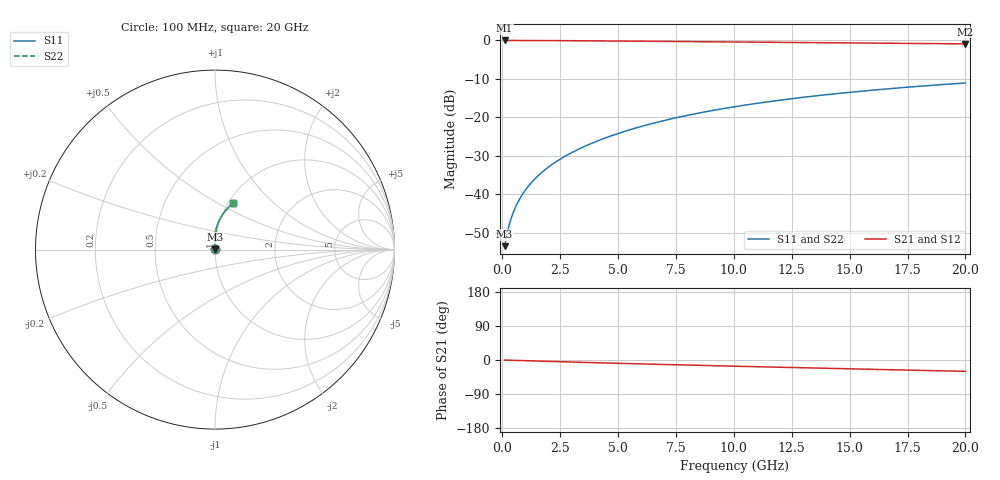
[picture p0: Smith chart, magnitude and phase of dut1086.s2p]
! Touchstone file exported from HFSS 2024.1.0
!  File:  C:/UserFiles/LocalFiles/RDL_TSV_Batchsim/temp_RDL_top_1086_1780045776.aedt
!  Generated:  05:12:01 PM May 29, 2026
!  Design:  RDL_top
!  Project:  temp_RDL_top_1086_1780045776
!  Setup:  Setup1
!  Solution:  Sweep
! Variables:
!  dtsv = 10.80580581um
!  hbump = 3um
!  htsv = 61.44um
!  ldown = 100um
!  lrdl = 408.33um
!  p = 40
!  p1 = 56.14um
!  rhole = 1um
!  t = 450um
!  tdown = 3.915915916um
!  trdl = 3.59um
!  wdown = 15.38538539um
!  wrdl = 27.67um
# GHz S MA R 50.000000
! Terminal data exported
! Port[1] = Box2_T1
! Port[2] = Box2_T2
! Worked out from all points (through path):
!   200 points, 100 MHz to 20 GHz, reference 50 ohm
!   highest |S21| = -0.01 dB at 100 MHz (marker M1); lowest = -0.9 dB at 20 GHz (marker M2)
!   group delay of S21, straight-line fit = 4.09 ps
!   lowest |S11| = -53.5 dB at 100 MHz (marker M3), VSWR 1.00, Z = 50.2 + j0.126 ohm
!   |S11| at or under -10 dB: start of sweep to end of sweep
!   |S22| runs from -53.5 to -11.1 dB; largest |S21 - S12| = 8e-15
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0.1  0.002113 36.6  0.9983 -0.2  0.9983 -0.2  0.002113 36.6
! Gamma 0 0 0 0
! Port Impedance 50 0 50 0
0.2  0.003034 53.6  0.9982 -0.4  0.9982 -0.4  0.003034 53.6
0.3  0.004029 62.1  0.998 -0.6  0.998 -0.6  0.004029 62.1
0.4  0.005038 67.4  0.9979 -0.8  0.9979 -0.8  0.005038 67.4
0.5  0.00606 71.1  0.9977 -0.9  0.9977 -0.9  0.00606 71.1
0.6  0.007095 73.9  0.9976 -1.1  0.9976 -1.1  0.007095 73.9
0.8  0.009206 77.9  0.9973 -1.5  0.9973 -1.5  0.009206 77.9
1.1  0.01245 81.7  0.9968 -2.0  0.9968 -2.0  0.01245 81.7
1.3  0.01466 83.4  0.9964 -2.4  0.9964 -2.4  0.01466 83.4
1.6  0.01804 85.3  0.9957 -2.9  0.9957 -2.9  0.01804 85.3
2.1  0.02383 87.4  0.9943 -3.8  0.9943 -3.8  0.02383 87.4
2.7  0.03106 89.0  0.9921 -4.9  0.9921 -4.9  0.03106 89.0
3.5  0.04119 90.1  0.9887 -6.3  0.9887 -6.3  0.04119 90.1
4.2  0.0505 90.5  0.9854 -7.5  0.9854 -7.5  0.05051 90.6
5  0.06161 90.5  0.9812 -8.8  0.9812 -8.8  0.06161 90.5
6.8  0.08795 89.1  0.9713 -11.6  0.9713 -11.6  0.08795 89.2
8.4  0.1123 87.1  0.9625 -14.0  0.9625 -14.0  0.1123 87.1
10.1  0.1383 84.5  0.9532 -16.5  0.9532 -16.5  0.1383 84.5
11.7  0.1627 81.9  0.9447 -18.7  0.9447 -18.7  0.1627 81.9
13.4  0.1881 79.0  0.9358 -21.1  0.9358 -21.1  0.1881 79.1
16.7  0.2354 73.7  0.9186 -25.6  0.9186 -25.6  0.2355 73.7
20  0.2796 68.6  0.9012 -29.9  0.9012 -29.9  0.2796 68.6
